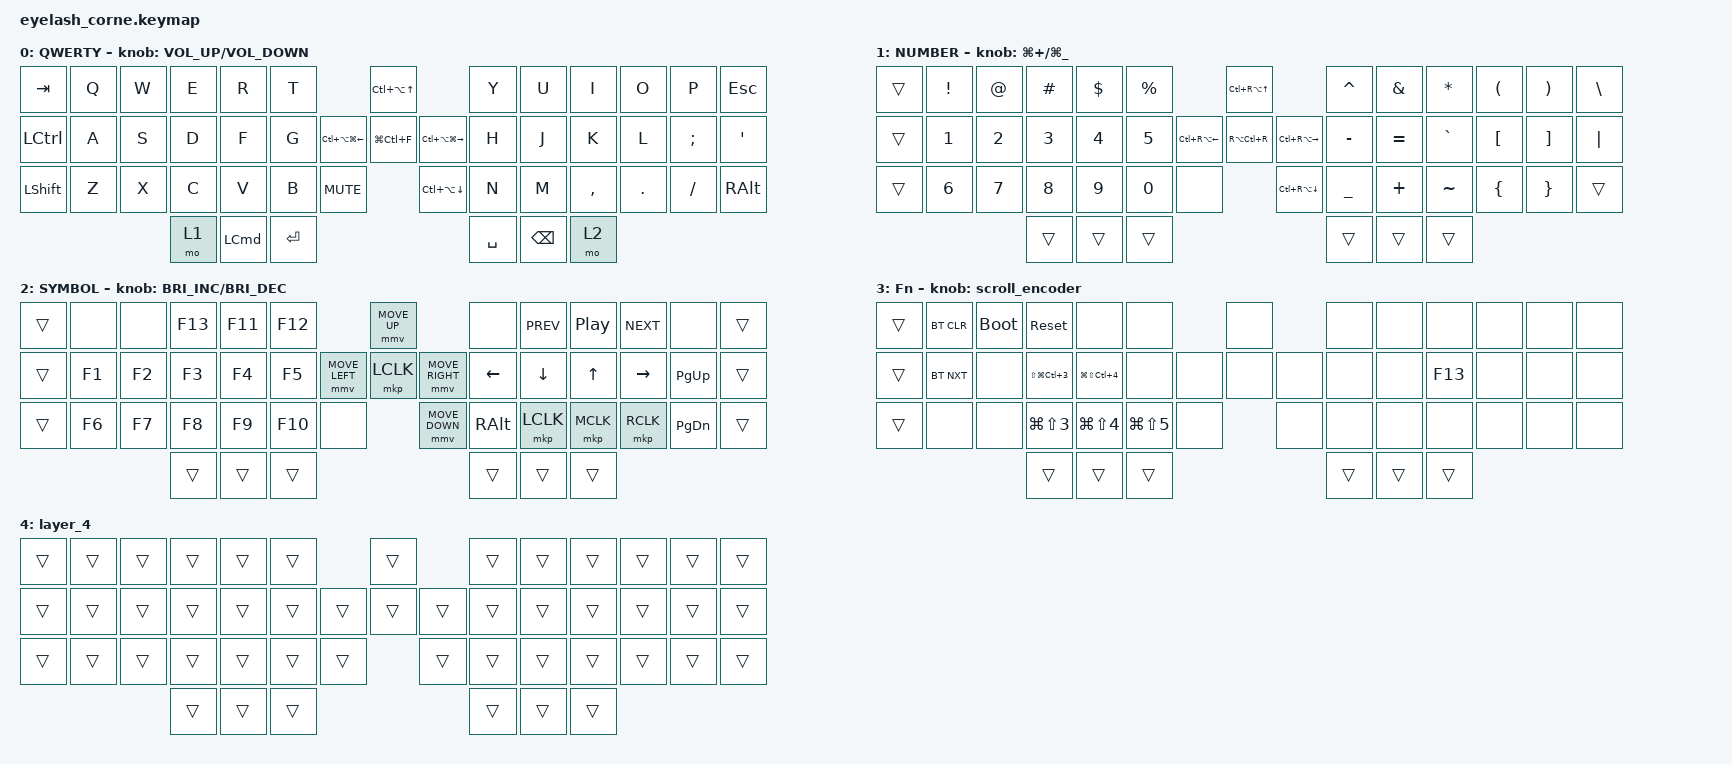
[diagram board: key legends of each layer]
#define ZMK_POINTING_DEFAULT_MOVE_VAL 1200  // 600
#define ZMK_POINTING_DEFAULT_SCRL_VAL 25   // 10

#include <input/processors.dtsi>
#include <zephyr/dt-bindings/input/input-event-codes.h>
#include <behaviors.dtsi>
#include <dt-bindings/zmk/bt.h>
#include <dt-bindings/zmk/keys.h>
#include <dt-bindings/zmk/pointing.h>
#include <dt-bindings/zmk/rgb.h>

&mmv_input_listener { input-processors = <&zip_xy_scaler 2 1>; };

&msc_input_listener { input-processors = <&zip_scroll_scaler 2 1>; };

&msc {
    acceleration-exponent = <1>;      // 0
    time-to-max-speed-ms = <100>;       // 300
    delay-ms = <0>;                   // 0
};

&mmv {
    time-to-max-speed-ms = <500>;
    acceleration-exponent = <1>;
    trigger-period-ms = <16>;
};

&soft_off { hold-time-ms = <2000>; };

/ {
    behaviors {
        td0: td0 {
            compatible = "zmk,behavior-tap-dance";
            display-name = "Shift/Caps Lock Tap Dance";
            #binding-cells = <0>;
            bindings = <&kp LEFT_SHIFT>, <&kp CAPS>;
        };
    };

    rgb_encoder: rgb_encoder {
        compatible = "zmk,behavior-sensor-rotate";
        #sensor-binding-cells = <0>;
        bindings = <&rgb_ug RGB_BRI>, <&rgb_ug RGB_BRD>;
    };

    scroll_encoder: scroll_encoder {
        compatible = "zmk,behavior-sensor-rotate";
        #sensor-binding-cells = <0>;
        bindings = <&msc SCRL_DOWN>, <&msc SCRL_UP>;

        tap-ms = <100>;
    };

    combos {
        compatible = "zmk,combos";

        softoff {
            bindings = <&soft_off>;
            key-positions = <1 15 29>;
        };
    };

    // Tri-layer: whenever NUMBER (1) and SYMBOL (2) are both active, Fn (3) turns on.
    // Unlike a combo, there is no timing window, so the two thumb keys can be pressed in any order at any pace.
    conditional_layers {
        compatible = "zmk,conditional-layers";

        tri_layer {
            if-layers = <1 2>;
            then-layer = <3>;
        };
    };

    keymap {
        compatible = "zmk,keymap";

        default_layer {
            display-name = "QWERTY";
            bindings = <
&kp TAB           &kp Q  &kp W  &kp E  &kp R             &kp T                                                &kp LC(LA(UP_ARROW))                                 &kp Y      &kp U          &kp I      &kp O    &kp P     &kp ESC
&kp LEFT_CONTROL  &kp A  &kp S  &kp D  &kp F             &kp G                    &kp LC(LA(LG(LEFT_ARROW)))  &kp LG(LC(F))           &kp LC(LA(LG(RIGHT_ARROW)))  &kp H      &kp J          &kp K      &kp L    &kp SEMI  &kp SQT
&kp LEFT_SHIFT    &kp Z  &kp X  &kp C  &kp V             &kp B      &kp C_MUTE                                &kp LC(LA(DOWN_ARROW))                               &kp N      &kp M          &kp COMMA  &kp DOT  &kp FSLH  &kp RIGHT_ALT
                                &mo 1  &kp LEFT_COMMAND  &kp ENTER                                                                                                 &kp SPACE  &kp BACKSPACE  &mo 2
            >;

            sensor-bindings = <&inc_dec_kp C_VOLUME_UP C_VOLUME_DOWN>;
        };

        lower_layer {
            display-name = "NUMBER";
            bindings = <
&trans  &kp EXCLAMATION  &kp AT_SIGN   &kp HASH      &kp DOLLAR    &kp PERCENT                                    &kp LC(RA(UP_ARROW))                       &kp CARET       &kp AMPERSAND  &kp ASTRK  &kp LEFT_PARENTHESIS  &kp RIGHT_PARENTHESIS  &kp BACKSLASH
&trans  &kp NUMBER_1     &kp NUMBER_2  &kp NUMBER_3  &kp NUMBER_4  &kp NUMBER_5           &kp LC(RA(LEFT_ARROW))  &kp RA(LC(R))           &kp LC(RA(RIGHT))  &kp MINUS       &kp EQUAL      &kp GRAVE  &kp LEFT_BRACKET      &kp RIGHT_BRACKET      &kp PIPE
&trans  &kp NUMBER_6     &kp NUMBER_7  &kp NUMBER_8  &kp NUMBER_9  &kp NUMBER_0  &none                            &kp LC(RA(DOWN_ARROW))                     &kp UNDERSCORE  &kp PLUS       &kp TILDE  &kp LEFT_BRACE        &kp RIGHT_BRACE        &trans
                                       &trans        &trans        &trans                                                                                    &trans          &trans         &trans
            >;

            sensor-bindings = <&inc_dec_kp LG(PLUS) LG(UNDERSCORE)>;
        };

        raise_layer {
            display-name = "SYMBOL";
            bindings = <
&trans  &none   &none   &kp F13  &kp F11  &kp F12                           &mmv MOVE_UP                     &none     &kp C_PREV  &kp C_PLAY_PAUSE  &kp C_NEXT       &none          &trans
&trans  &kp F1  &kp F2  &kp F3   &kp F4   &kp F5            &mmv MOVE_LEFT  &mkp LCLK       &mmv MOVE_RIGHT  &kp LEFT  &kp DOWN    &kp UP_ARROW      &kp RIGHT_ARROW  &kp PAGE_UP    &trans
&trans  &kp F6  &kp F7  &kp F8   &kp F9   &kp F10  &none                    &mmv MOVE_DOWN                   &kp RIGHT_ALT &mkp LCLK   &mkp MCLK         &mkp RCLK        &kp PAGE_DOWN  &trans
                        &trans   &trans   &trans                                                             &trans    &trans      &trans
            >;

            sensor-bindings = <&inc_dec_kp C_BRIGHTNESS_INC C_BRIGHTNESS_DEC>;
        };

        layer_3 {
            display-name = "Fn";
            bindings = <
&trans  &bt BT_CLR  &bootloader  &sys_reset                &none                     &none                                 &none         &none   &none   &none    &none  &none  &none
&trans  &bt BT_NXT  &none        &kp LS(LG(LC(NUMBER_3)))  &kp LG(LS(LC(NUMBER_4)))  &none                          &none  &none  &none  &none   &none   &kp F13  &none  &none  &none
&trans  &none       &none        &kp LG(LS(NUMBER_3))      &kp LG(LS(NUMBER_4))      &kp LG(LS(NUMBER_5))  &none           &none         &none   &none   &none    &none  &none  &none
                                 &trans                    &trans                    &trans                                              &trans  &trans  &trans
            >;

            sensor-bindings = <&scroll_encoder>;
        };

        layer_4 {
            bindings = <
&trans  &trans  &trans  &trans  &trans  &trans                    &trans          &trans  &trans  &trans  &trans  &trans  &trans
&trans  &trans  &trans  &trans  &trans  &trans            &trans  &trans  &trans  &trans  &trans  &trans  &trans  &trans  &trans
&trans  &trans  &trans  &trans  &trans  &trans  &trans            &trans          &trans  &trans  &trans  &trans  &trans  &trans
                        &trans  &trans  &trans                                    &trans  &trans  &trans
            >;
        };
    };
};
